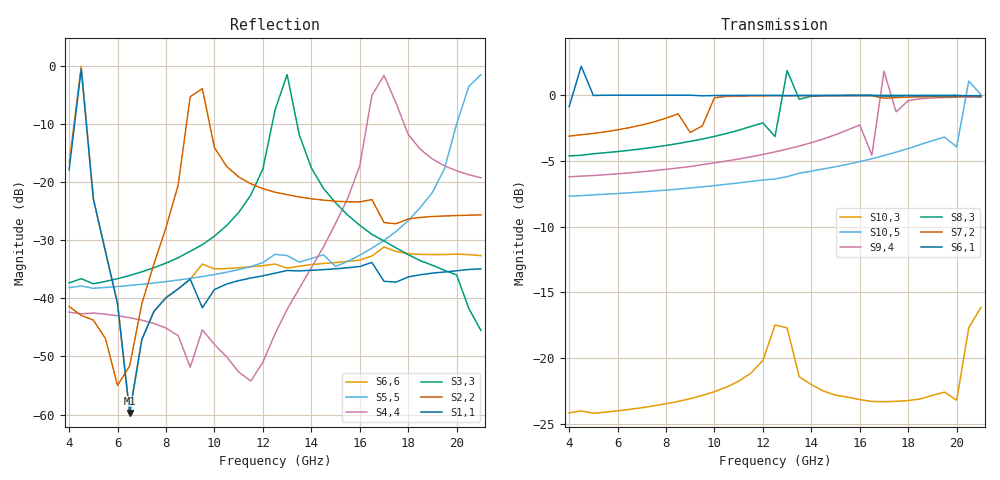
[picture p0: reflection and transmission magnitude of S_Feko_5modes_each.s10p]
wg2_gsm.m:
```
clear;

F = 4e9:0.01e9:21e9;

rp = 0.0405319403216/1.9 * 2;   % radius of the bigger waveguide
rr = 0.0405319403216/1.9; % radius of the smaller waveguide

Nr = 1:1:20;
Np = 1:1:20;

erp = 1;
murp = 1;
err = 1;
murr = 1;


[X_til_pr] = Inner_p(Nr, Np, rp, rr, erp, murp, err, murr);

parfor k = 1:length(F)
    disp('Freq iteration');
    disp(k);

[Spp_, Spr_, Srp_, Srr_] = GSM(Nr, Np, F(k), rp, rr, erp, murp, err, murr, X_til_pr);

    Spp(k, :, :) =  Spp_;
    Spr(k, :, :) =  Spr_;
    Srp(k, :, :) =  Srp_;
    Srr(k, :, :) =  Srr_;

end

%% 
data5 = read(rfdata.data,'S_Feko_5modes_each.s10p');
s_params_5 = extract(data5,'S_PARAMETERS');

figure;

plot(F * 1e-9, db(abs(squeeze(s_params_5(6, 6, :))))/2, 'LineWidth', 2); grid on;
hold on;
plot(F * 1e-9, db(abs(squeeze(Spp(:, 1, 1))))/2, 'LineWidth', 2); grid on;
```
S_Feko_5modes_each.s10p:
! S-parameter export from POSTFEKO
! Filename: circular_2wg_5modes
! Creation date: 2019-12-28 12:44:53
# GHz S MA R  5.0000000E+01
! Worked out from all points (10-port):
!   35 points, 4 GHz to 21 GHz, reference 50 ohm
!   strongest paths, dB at 4 GHz, 8 GHz, 12.5 GHz, 17 GHz, 21 GHz:
!     S6,1: -0.9, 0.0, 0.0, -0.1, 0.0
!     S7,2: -3.1, -1.8, 0.0, -0.2, -0.1
!     S8,3: -4.6, -3.8, -3.1, 0.0, -0.1
!     S9,4: -6.2, -5.6, -4.3, 1.8, -0.1
!     S10,5: -7.7, -7.2, -6.4, -4.6, 0.0
!     S10,3: -24.1, -23.5, -17.5, -23.3, -16.1
!   lowest |S11| = -59.7 dB at 6.5 GHz (marker M1), VSWR 1.00, Z = 50 + j0.0959 ohm
!   |S11| at or under -10 dB: start of sweep to 4.226 GHz; 4.713 GHz to end of sweep
